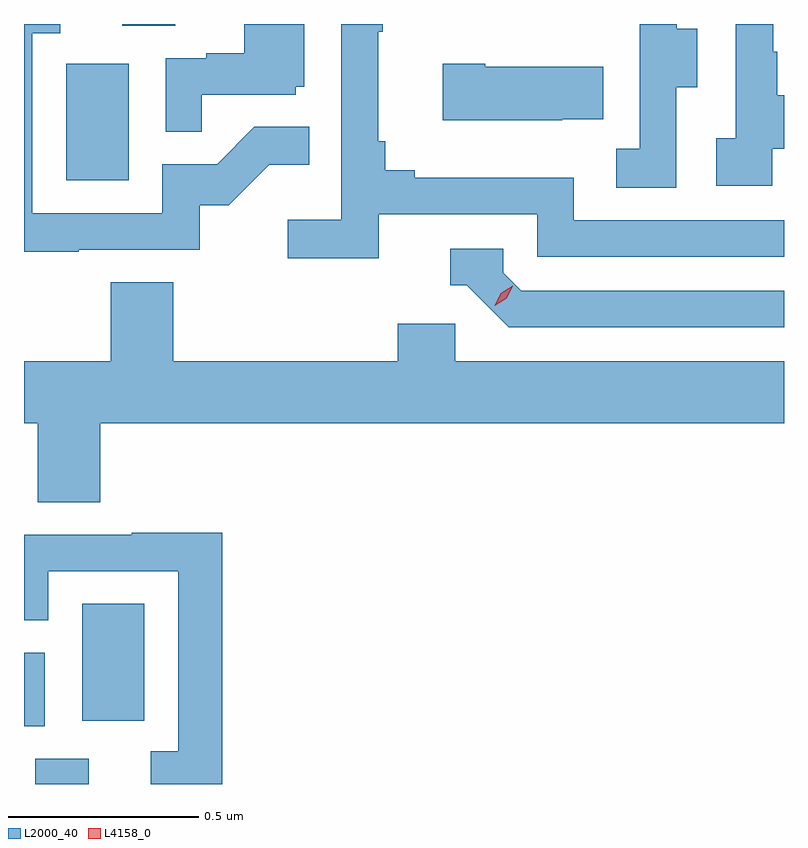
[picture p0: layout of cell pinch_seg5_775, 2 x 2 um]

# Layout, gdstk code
import gdstk
lib = gdstk.Library(unit=1e-6, precision=1e-09)
def R(c, l, rs):  # rectangles x0, y0, x1, y1
    for r in rs: c.add(gdstk.rectangle(r[:2], r[2:], *l))
def P(c, l, *ps):  # polygons
    for p in ps: c.add(gdstk.Polygon(p, *l))
L2000_40 = (2000, 40)
L4158_0 = (4158, 0)

pinch_seg5_775 = lib.new_cell('pinch_seg5_775')
R(pinch_seg5_775, L2000_40, [(854.327,899.767,854.467,899.834), (854.297,899.919,854.352,900.113), (854.45,899.934,854.614,900.241), (854.408,901.356,854.572,901.663), (854.555,901.762,854.695,901.767)])
P(pinch_seg5_775, L2000_40, [(856.266,901.439),(856.297,901.439),(856.297,901.579),(856.279,901.579),(856.279,901.694),(856.269,901.694),(856.269,901.767),(856.17,901.767),(856.17,901.466),(856.119,901.466),(856.119,901.341),(856.266,901.341)],
  [(854.441,901.173),(854.76,901.173),(854.76,901.29),(854.836,901.29),(854.943,901.397),(855.047,901.397),(855.047,901.496),(854.903,901.496),(854.805,901.398),(854.661,901.398),(854.661,901.269),(854.319,901.269),(854.319,901.743),(854.392,901.743),(854.392,901.767),(854.297,901.767),(854.297,901.168),(854.441,901.168)],
  [(855.23,901.266),(855.648,901.266),(855.648,901.155),(856.297,901.155),(856.297,901.251),(855.744,901.251),(855.744,901.363),(855.325,901.363),(855.325,901.382),(855.248,901.382),(855.248,901.459),(855.229,901.459),(855.229,901.747),(855.241,901.747),(855.241,901.767),(855.132,901.767),(855.132,901.252),(854.991,901.252),(854.991,901.15),(855.23,901.15)],
  [(856.014,901.6),(856.069,901.6),(856.069,901.755),(856.015,901.755),(856.015,901.767),(855.917,901.767),(855.917,901.743),(855.918,901.743),(855.918,901.439),(855.855,901.439),(855.855,901.336),(856.014,901.336)],
  [(854.765,901.581),(855.012,901.581),(855.012,901.602),(855.034,901.602),(855.034,901.767),(854.876,901.767),(854.876,901.69),(854.777,901.69),(854.777,901.677),(854.67,901.677),(854.67,901.483),(854.765,901.483)],
  [(855.713,901.517),(855.821,901.517),(855.821,901.654),(855.511,901.654),(855.511,901.662),(855.399,901.662),(855.399,901.514),(855.713,901.514)],
  [(856.297,901.065),(855.606,901.065),(855.558,901.113),(855.558,901.176),(855.419,901.176),(855.419,901.08),(855.462,901.08),(855.573,900.969),(856.297,900.969)],
  [(854.498,900.716),(856.297,900.716),(856.297,900.88),(855.432,900.88),(855.432,900.978),(855.281,900.978),(855.281,900.88),(854.69,900.88),(854.69,901.088),(854.525,901.088),(854.525,900.88),(854.297,900.88),(854.297,900.716),(854.333,900.716),(854.333,900.508),(854.498,900.508)],
  [(854.819,900.428),(854.581,900.428),(854.581,900.423),(854.297,900.423),(854.297,900.198),(854.361,900.198),(854.361,900.327),(854.703,900.327),(854.703,899.853),(854.631,899.853),(854.631,899.767),(854.819,899.767)])
P(pinch_seg5_775, L4158_0, [(855.536,901.026),(855.536,901.026),(855.552,901.059),(855.583,901.078),(855.583,901.078),(855.583,901.078),(855.567,901.045),(855.536,901.026)])

lib.write_gds('pinch_seg5_775.gds')
